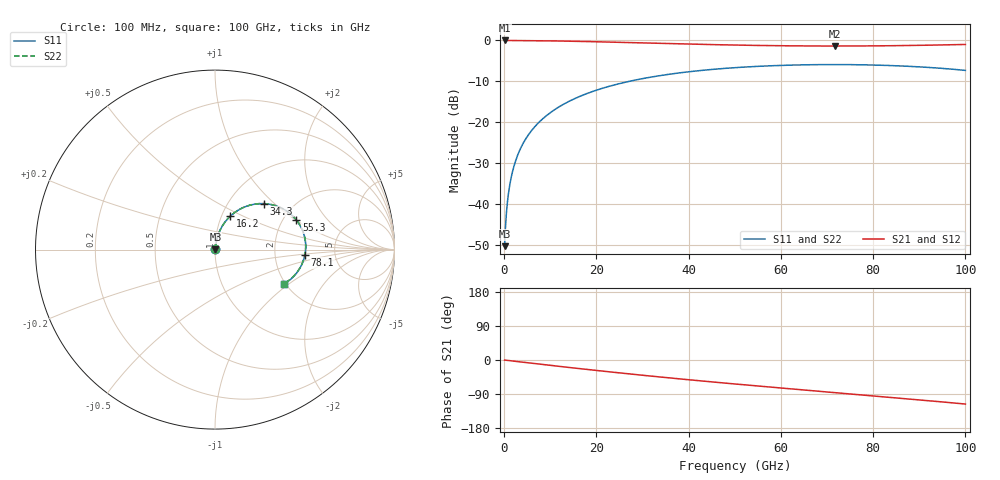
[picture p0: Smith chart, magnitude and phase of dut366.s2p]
! Touchstone file exported from HFSS 2026.1.0
!  File:  C:/ffzhzh/LocalFiles/Ansys_Project_Files/temp_train_RDL_366_1783503465_55944.aedt
!  Generated:  05:38:58 PM Jul  8, 2026
!  Design:  RDL
!  Project:  temp_train_RDL_366_1783503465_55944
! Variables:
!  h_bsmrdl = 2um
!  h_ox = 20um
!  h_rdl = 5um
!  h_sub = 80um
!  h_tmrdl = 2.3um
!  h_tsv = 80um
!  h_via = 3um
!  l_bsmrdl = 300um
!  l_sub = 782.77um
!  l_tmrdl = 382.77um
!  m_sub = 200um
!  pitch = 48um
!  r_tsv = 6um
!  s_tmrdl = 10um
!  w_bsmrdl = 18um
!  w_sub = 500um
!  w_tmrdl = 25.69um
!  x_tsv_center1 = 395.615um
!  x_tsv_center2 = 713.615um
!  x_tsv_center3 = 1122.075um
!  x_tsv_center4 = 1440.075um
!  x_tsv_center5 = 1848.535um
!  x_tsv_center6 = 2166.535um
# GHz S MA R 50.000000
! Terminal data exported
! Port[1] = TM_RDL1_1_T1
! Port[2] = TM_RDL1_1_T2
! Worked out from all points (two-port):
!   1000 points, 100 MHz to 100 GHz, reference 50 ohm
!   highest |S21| = -0.02 dB at 100 MHz (marker M1); lowest = -1.4 dB at 71.7 GHz (marker M2)
!   |S21| within 3 dB of the highest: start of sweep to end of sweep
!   lowest |S11| = -50.3 dB at 100 MHz (marker M3), VSWR 1.01, Z = 50.3 + j0.153 ohm
!   |S11| at or under -10 dB: start of sweep to 27.19 GHz
!   |S22| runs from -50.3 to -5.9 dB; largest |S21 - S12| = 3.7e-15
!   S11 on the Smith chart (normalised r, x): 100 MHz: 1.01, +0.00; 16.2 GHz: 1.10, +0.43; 34.3 GHz: 1.45, +0.86; 55.3 GHz: 2.35, +1.01; 78.1 GHz: 3.00, -0.23; 100 GHz: 1.96, -0.92
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0.1  0.003048 30.0  0.9974 -0.2  0.9974 -0.2  0.003048 30.0
! Gamma 0 0 0 0
! Port Impedance 50 0 50 0
0.4  0.00658 62.5  0.997 -0.6  0.997 -0.6  0.00658 62.5
0.9  0.01297 73.5  0.9965 -1.3  0.9965 -1.3  0.01297 73.5
1.5  0.02073 77.8  0.9962 -2.2  0.9962 -2.2  0.02073 77.8
2  0.02727 79.3  0.9959 -2.9  0.9959 -2.9  0.02727 79.3
2.6  0.03515 80.1  0.9956 -3.7  0.9956 -3.7  0.03515 80.1
4.1  0.05486 79.9  0.9944 -5.8  0.9944 -5.8  0.05486 79.9
6.2  0.08223 78.1  0.9922 -8.8  0.9922 -8.8  0.08223 78.1
8.8  0.1155 75.0  0.9882 -12.4  0.9882 -12.4  0.1155 75.0
12.1  0.1563 70.8  0.9817 -17.0  0.9817 -17.0  0.1563 70.8
16.2  0.2043 65.5  0.9719 -22.6  0.9719 -22.6  0.2043 65.5
16.8  0.211 64.7  0.9703 -23.4  0.9703 -23.4  0.211 64.7
24.2  0.2883 55.3  0.949 -33.0  0.949 -33.0  0.2883 55.4
33.4  0.3677 44.2  0.9205 -44.4  0.9205 -44.4  0.3677 44.3
34.3  0.3744 43.1  0.9178 -45.4  0.9178 -45.4  0.3744 43.2
50.1  0.464 25.5  0.876 -63.3  0.876 -63.3  0.464 25.6
55.3  0.4821 20.0  0.8662 -68.9  0.8662 -68.9  0.4821 20.2
66.7  0.5039 8.3  0.8538 -80.8  0.8538 -80.8  0.5039 8.5
71.7  0.506 3.2  0.8525 -86.0  0.8525 -86.0  0.506 3.4
78.1  0.502 -3.3  0.8546 -92.6  0.8546 -92.6  0.502 -3.1
83.4  0.493 -8.7  0.8595 -98.1  0.8595 -98.1  0.493 -8.5
100  0.4293 -26.5  0.891 -116.3  0.891 -116.3  0.4294 -26.1
